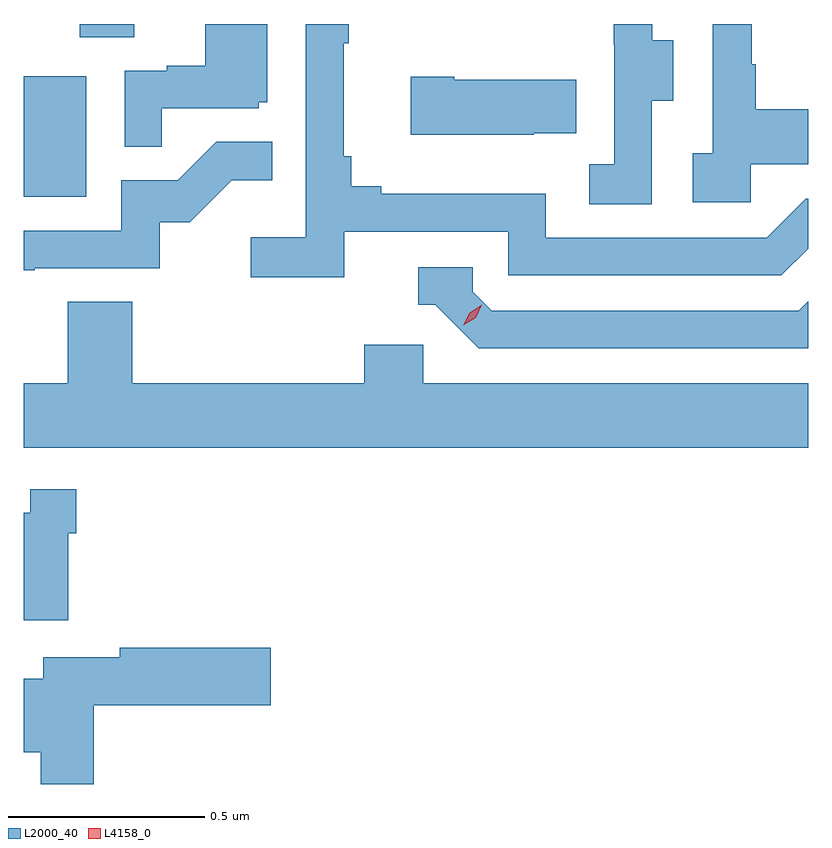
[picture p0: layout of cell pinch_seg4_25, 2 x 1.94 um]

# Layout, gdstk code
import gdstk
lib = gdstk.Library(unit=1e-6, precision=1e-09)
def R(c, l, rs):  # rectangles x0, y0, x1, y1
    for r in rs: c.add(gdstk.rectangle(r[:2], r[2:], *l))
def P(c, l, *ps):  # polygons
    for p in ps: c.add(gdstk.Polygon(p, *l))
L2000_40 = (2000, 40)
L4158_0 = (4158, 0)

pinch_seg4_25 = lib.new_cell('pinch_seg4_25')
R(pinch_seg4_25, L2000_40, [(1089.733,818.772,1089.892,819.079), (1089.875,819.178,1090.015,819.212)])
P(pinch_seg4_25, L2000_40, [(1090.55,818.682),(1090.968,818.682),(1090.968,818.571),(1091.665,818.571),(1091.733,818.639),(1091.733,818.766),(1091.727,818.766),(1091.628,818.667),(1091.064,818.667),(1091.064,818.779),(1090.645,818.779),(1090.645,818.798),(1090.568,818.798),(1090.568,818.875),(1090.549,818.875),(1090.549,819.163),(1090.561,819.163),(1090.561,819.212),(1090.452,819.212),(1090.452,818.668),(1090.311,818.668),(1090.311,818.566),(1090.55,818.566)],
  [(1091.334,819.016),(1091.389,819.016),(1091.389,819.171),(1091.335,819.171),(1091.335,819.212),(1091.237,819.212),(1091.237,819.159),(1091.238,819.159),(1091.238,818.855),(1091.175,818.855),(1091.175,818.752),(1091.334,818.752)],
  [(1090.085,818.997),(1090.332,818.997),(1090.332,819.012),(1090.354,819.012),(1090.354,819.212),(1090.196,819.212),(1090.196,819.106),(1090.097,819.106),(1090.097,819.093),(1089.99,819.093),(1089.99,818.899),(1090.085,818.899)],
  [(1091.586,818.855),(1091.733,818.855),(1091.733,818.995),(1091.599,818.995),(1091.599,819.11),(1091.589,819.11),(1091.589,819.212),(1091.49,819.212),(1091.49,818.882),(1091.439,818.882),(1091.439,818.757),(1091.586,818.757)],
  [(1091.033,818.933),(1091.141,818.933),(1091.141,819.07),(1090.831,819.07),(1090.831,819.078),(1090.719,819.078),(1090.719,818.93),(1091.033,818.93)],
  [(1089.761,818.589),(1090.08,818.589),(1090.08,818.706),(1090.156,818.706),(1090.263,818.813),(1090.367,818.813),(1090.367,818.912),(1090.223,818.912),(1090.125,818.814),(1089.981,818.814),(1089.981,818.685),(1089.733,818.685),(1089.733,818.584),(1089.761,818.584)],
  [(1091.733,818.505),(1091.709,818.481),(1090.926,818.481),(1090.878,818.529),(1090.878,818.592),(1090.739,818.592),(1090.739,818.496),(1090.782,818.496),(1090.893,818.385),(1091.733,818.385)],
  [(1091.733,818.296),(1090.752,818.296),(1090.752,818.394),(1090.601,818.394),(1090.601,818.296),(1090.01,818.296),(1090.01,818.504),(1089.845,818.504),(1089.845,818.296),(1089.733,818.296),(1089.733,818.132),(1091.733,818.132)],
  [(1089.846,817.913),(1089.866,817.913),(1089.866,818.026),(1089.749,818.026),(1089.749,817.966),(1089.733,817.966),(1089.733,817.691),(1089.846,817.691)],
  [(1089.911,817.475),(1090.363,817.475),(1090.363,817.622),(1089.978,817.622),(1089.978,817.597),(1089.782,817.597),(1089.782,817.543),(1089.733,817.543),(1089.733,817.355),(1089.776,817.355),(1089.776,817.274),(1089.911,817.274)])
P(pinch_seg4_25, L4158_0, [(1090.854,818.444),(1090.854,818.444),(1090.87,818.476),(1090.901,818.496),(1090.901,818.496),(1090.901,818.496),(1090.885,818.463),(1090.854,818.444)])

lib.write_gds('pinch_seg4_25.gds')
